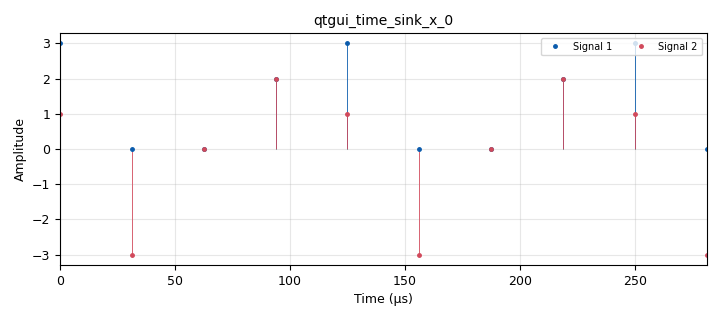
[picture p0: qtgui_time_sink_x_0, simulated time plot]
options:
  parameters:
    generate_options: qt_gui
    id: BloqueAcumulador
    output_language: python
    title: Not titled yet
  states: {}

blocks:
- name: samp_rate
  id: variable
  parameters:
    value: '32000'
  states: {}
- name: analog_sig_source_x_0
  id: analog_sig_source_x
  parameters:
    amp: '1'
    freq: '1000'
    offset: '0'
    phase: '0'
    samp_rate: samp_rate
    type: float
    waveform: analog.GR_CONST_WAVE
  states: {state: disabled}
- name: blocks_message_debug_0
  id: blocks_message_debug
  parameters: {}
  states: {}
- name: blocks_vector_source_x_0
  id: blocks_vector_source_x
  parameters:
    repeat: 'False'
    type: float
    vector: (0,2,1,-3,0,2,1,-3,0,2,1,-3,0,2,1,-3,0,2,1,-3,0,2,1,-3,)
  states: {}
- name: epy_block_0
  id: epy_block
  parameters:
    _source_code: |
      import numpy as np
      from gnuradio import gr
      class blk ( gr . sync_block ) :
      	def __init__ ( self ) : # only default arguments here
      		gr . sync_block . __init__ (
      			self ,
      			name = " e_Acum " , # will show up in GRC
      			in_sig =[ np.float32 ] ,
      			out_sig =[ np.float32 ])
      		self.acum_anterior=0
      		
      	def work ( self , input_items , output_items ) :
      		x = input_items [0] # Senial de entrada.
      		N = len(x)
      		y = output_items [0] # Senial acumulada
      		y[:] = self.acum_anterior+np.cumsum(x)
      		self.acum_anterior=y[N-1]
      		return len(x)
  states: {}
- name: qtgui_time_sink_x_0
  id: qtgui_time_sink_x
  parameters:
    autoscale: 'True'
    entags: 'False'
    marker1: '0'
    nconnections: '2'
    size: '10'
    srate: samp_rate
    stemplot: 'True'
    type: float
    update_time: '5'
  states: {}

connections:
- [blocks_vector_source_x_0, '0', epy_block_0, '0']
- [blocks_vector_source_x_0, '0', qtgui_time_sink_x_0, '1']
- [epy_block_0, '0', qtgui_time_sink_x_0, '0']

metadata:
  file_format: 1
  grc_version: 3.9.8.0
